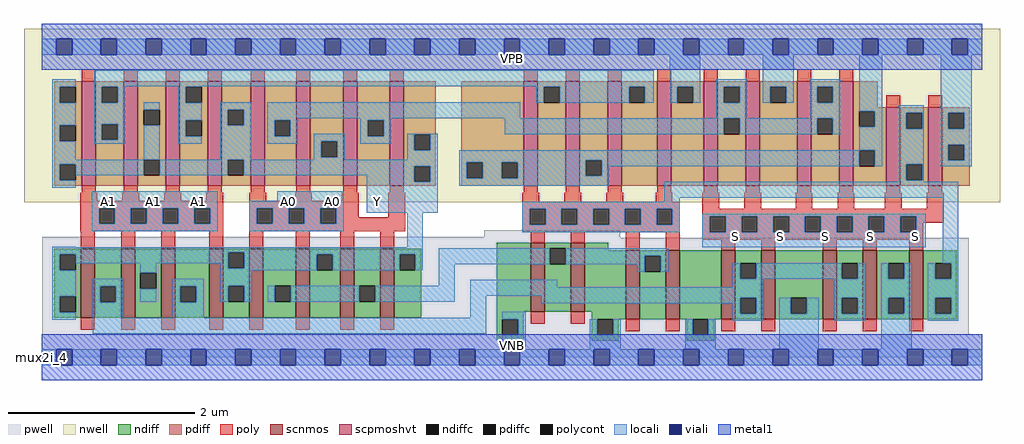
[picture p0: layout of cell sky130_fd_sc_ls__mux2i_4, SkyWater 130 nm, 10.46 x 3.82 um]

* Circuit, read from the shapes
.subckt sky130_fd_sc_ls__mux2i_4 A0 A1 S VGND VNB VPB VPWR Y
XM1 n1 A1 Y VNB sky130_fd_pr__nfet_01v8 w=0.74 l=0.15 m=4
XM2 n2 A0 Y VNB sky130_fd_pr__nfet_01v8 w=0.74 l=0.15 m=4
XM3 n2 n3 VGND VNB sky130_fd_pr__nfet_01v8 w=0.74 l=0.15 m=4
XM4 n1 S VGND VNB sky130_fd_pr__nfet_01v8 w=0.74 l=0.15 m=4
XM5 n3 S VGND VNB sky130_fd_pr__nfet_01v8 w=0.74 l=0.15
XM6 n4 A1 Y VPB sky130_fd_pr__pfet_01v8_hvt w=1.12 l=0.15 m=4
XM7 n5 A0 Y VPB sky130_fd_pr__pfet_01v8_hvt w=1.12 l=0.15 m=4
XM8 n4 n3 VPWR VPB sky130_fd_pr__pfet_01v8_hvt w=1.12 l=0.15 m=4
XM9 n5 S VPWR VPB sky130_fd_pr__pfet_01v8_hvt w=1.12 l=0.15 m=4
XM10 n3 S VPWR VPB sky130_fd_pr__pfet_01v8_hvt w=0.84 l=0.15 m=2
.ends

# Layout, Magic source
magic
tech sky130A
magscale 1 2
<< nwell >>
rect -38 332 2054 704
<< pwell >>
rect 949 259 1240 272
rect 1 256 1240 259
rect 1 49 1987 256
rect 0 0 2016 49
<< scnmos >>
rect 84 85 114 233
rect 170 85 200 233
rect 256 85 286 233
rect 359 85 389 233
rect 445 85 475 233
rect 545 85 575 233
rect 640 85 670 233
rect 726 85 756 233
rect 1048 98 1078 246
rect 1134 98 1164 246
rect 1252 82 1282 230
rect 1338 82 1368 230
rect 1456 82 1486 230
rect 1542 82 1572 230
rect 1674 82 1704 230
rect 1760 82 1790 230
rect 1860 82 1890 230
<< scpmoshvt >>
rect 86 368 116 592
rect 176 368 206 592
rect 266 368 296 592
rect 356 368 386 592
rect 448 368 478 592
rect 546 368 576 592
rect 646 368 676 592
rect 746 368 776 592
rect 1033 368 1063 592
rect 1123 368 1153 592
rect 1213 368 1243 592
rect 1319 368 1349 592
rect 1419 368 1449 592
rect 1509 368 1539 592
rect 1619 368 1649 592
rect 1709 368 1739 592
rect 1810 368 1840 536
rect 1900 368 1930 536
<< ndiff >>
rect 27 221 84 233
rect 27 187 39 221
rect 73 187 84 221
rect 27 131 84 187
rect 27 97 39 131
rect 73 97 84 131
rect 27 85 84 97
rect 114 152 170 233
rect 114 118 125 152
rect 159 118 170 152
rect 114 85 170 118
rect 200 181 256 233
rect 200 147 211 181
rect 245 147 256 181
rect 200 85 256 147
rect 286 152 359 233
rect 286 118 297 152
rect 331 118 359 152
rect 286 85 359 118
rect 389 225 445 233
rect 389 191 400 225
rect 434 191 445 225
rect 389 153 445 191
rect 389 119 400 153
rect 434 119 445 153
rect 389 85 445 119
rect 475 153 545 233
rect 475 119 500 153
rect 534 119 545 153
rect 475 85 545 119
rect 575 221 640 233
rect 575 187 590 221
rect 624 187 640 221
rect 575 85 640 187
rect 670 153 726 233
rect 670 119 681 153
rect 715 119 726 153
rect 670 85 726 119
rect 756 221 813 233
rect 756 187 767 221
rect 801 187 813 221
rect 756 85 813 187
rect 975 98 1048 246
rect 1078 234 1134 246
rect 1078 200 1089 234
rect 1123 200 1134 234
rect 1078 98 1134 200
rect 1164 230 1214 246
rect 1164 98 1252 230
rect 975 82 1033 98
rect 975 48 987 82
rect 1021 48 1033 82
rect 1179 82 1252 98
rect 1282 218 1338 230
rect 1282 184 1293 218
rect 1327 184 1338 218
rect 1282 82 1338 184
rect 1368 82 1456 230
rect 1486 202 1542 230
rect 1486 168 1497 202
rect 1531 168 1542 202
rect 1486 128 1542 168
rect 1486 94 1497 128
rect 1531 94 1542 128
rect 1486 82 1542 94
rect 1572 128 1674 230
rect 1572 94 1606 128
rect 1640 94 1674 128
rect 1572 82 1674 94
rect 1704 202 1760 230
rect 1704 168 1715 202
rect 1749 168 1760 202
rect 1704 128 1760 168
rect 1704 94 1715 128
rect 1749 94 1760 128
rect 1704 82 1760 94
rect 1790 202 1860 230
rect 1790 168 1815 202
rect 1849 168 1860 202
rect 1790 128 1860 168
rect 1790 94 1815 128
rect 1849 94 1860 128
rect 1790 82 1860 94
rect 1890 202 1961 230
rect 1890 168 1915 202
rect 1949 168 1961 202
rect 1890 128 1961 168
rect 1890 94 1915 128
rect 1949 94 1961 128
rect 1890 82 1961 94
rect 975 36 1033 48
rect 1179 48 1191 82
rect 1225 48 1237 82
rect 1179 36 1237 48
rect 1383 48 1395 82
rect 1429 48 1441 82
rect 1383 36 1441 48
<< pdiff >>
rect 27 580 86 592
rect 27 546 39 580
rect 73 546 86 580
rect 27 497 86 546
rect 27 463 39 497
rect 73 463 86 497
rect 27 414 86 463
rect 27 380 39 414
rect 73 380 86 414
rect 27 368 86 380
rect 116 580 176 592
rect 116 546 129 580
rect 163 546 176 580
rect 116 500 176 546
rect 116 466 129 500
rect 163 466 176 500
rect 116 368 176 466
rect 206 531 266 592
rect 206 497 219 531
rect 253 497 266 531
rect 206 424 266 497
rect 206 390 219 424
rect 253 390 266 424
rect 206 368 266 390
rect 296 580 356 592
rect 296 546 309 580
rect 343 546 356 580
rect 296 508 356 546
rect 296 474 309 508
rect 343 474 356 508
rect 296 368 356 474
rect 386 531 448 592
rect 386 497 399 531
rect 433 497 448 531
rect 386 424 448 497
rect 386 390 399 424
rect 433 390 448 424
rect 386 368 448 390
rect 478 508 546 592
rect 478 474 499 508
rect 533 474 546 508
rect 478 368 546 474
rect 576 463 646 592
rect 576 429 599 463
rect 633 429 646 463
rect 576 368 646 429
rect 676 508 746 592
rect 676 474 699 508
rect 733 474 746 508
rect 676 368 746 474
rect 776 478 845 592
rect 776 444 799 478
rect 833 444 845 478
rect 776 410 845 444
rect 776 376 799 410
rect 833 376 845 410
rect 776 368 845 376
rect 899 418 1033 592
rect 899 384 911 418
rect 945 384 986 418
rect 1020 384 1033 418
rect 899 368 1033 384
rect 1063 580 1123 592
rect 1063 546 1076 580
rect 1110 546 1123 580
rect 1063 368 1123 546
rect 1153 423 1213 592
rect 1153 389 1166 423
rect 1200 389 1213 423
rect 1153 368 1213 389
rect 1243 580 1319 592
rect 1243 546 1259 580
rect 1293 546 1319 580
rect 1243 368 1319 546
rect 1349 580 1419 592
rect 1349 546 1362 580
rect 1396 546 1419 580
rect 1349 368 1419 546
rect 1449 580 1509 592
rect 1449 546 1462 580
rect 1496 546 1509 580
rect 1449 512 1509 546
rect 1449 478 1462 512
rect 1496 478 1509 512
rect 1449 368 1509 478
rect 1539 580 1619 592
rect 1539 546 1562 580
rect 1596 546 1619 580
rect 1539 368 1619 546
rect 1649 580 1709 592
rect 1649 546 1662 580
rect 1696 546 1709 580
rect 1649 512 1709 546
rect 1649 478 1662 512
rect 1696 478 1709 512
rect 1649 368 1709 478
rect 1739 536 1792 592
rect 1739 528 1810 536
rect 1739 494 1752 528
rect 1786 494 1810 528
rect 1739 444 1810 494
rect 1739 410 1752 444
rect 1786 410 1810 444
rect 1739 368 1810 410
rect 1840 524 1900 536
rect 1840 490 1853 524
rect 1887 490 1900 524
rect 1840 414 1900 490
rect 1840 380 1853 414
rect 1887 380 1900 414
rect 1840 368 1900 380
rect 1930 524 1989 536
rect 1930 490 1943 524
rect 1977 490 1989 524
rect 1930 456 1989 490
rect 1930 422 1943 456
rect 1977 422 1989 456
rect 1930 368 1989 422
<< ndiffc >>
rect 39 187 73 221
rect 39 97 73 131
rect 125 118 159 152
rect 211 147 245 181
rect 297 118 331 152
rect 400 191 434 225
rect 400 119 434 153
rect 500 119 534 153
rect 590 187 624 221
rect 681 119 715 153
rect 767 187 801 221
rect 1089 200 1123 234
rect 987 48 1021 82
rect 1293 184 1327 218
rect 1497 168 1531 202
rect 1497 94 1531 128
rect 1606 94 1640 128
rect 1715 168 1749 202
rect 1715 94 1749 128
rect 1815 168 1849 202
rect 1815 94 1849 128
rect 1915 168 1949 202
rect 1915 94 1949 128
rect 1191 48 1225 82
rect 1395 48 1429 82
<< pdiffc >>
rect 39 546 73 580
rect 39 463 73 497
rect 39 380 73 414
rect 129 546 163 580
rect 129 466 163 500
rect 219 497 253 531
rect 219 390 253 424
rect 309 546 343 580
rect 309 474 343 508
rect 399 497 433 531
rect 399 390 433 424
rect 499 474 533 508
rect 599 429 633 463
rect 699 474 733 508
rect 799 444 833 478
rect 799 376 833 410
rect 911 384 945 418
rect 986 384 1020 418
rect 1076 546 1110 580
rect 1166 389 1200 423
rect 1259 546 1293 580
rect 1362 546 1396 580
rect 1462 546 1496 580
rect 1462 478 1496 512
rect 1562 546 1596 580
rect 1662 546 1696 580
rect 1662 478 1696 512
rect 1752 494 1786 528
rect 1752 410 1786 444
rect 1853 490 1887 524
rect 1853 380 1887 414
rect 1943 490 1977 524
rect 1943 422 1977 456
<< poly >>
rect 86 592 116 618
rect 176 592 206 618
rect 266 592 296 618
rect 356 592 386 618
rect 448 592 478 618
rect 546 592 576 618
rect 646 592 676 618
rect 746 592 776 618
rect 1033 592 1063 618
rect 1123 592 1153 618
rect 1213 592 1243 618
rect 1319 592 1349 618
rect 1419 592 1449 618
rect 1509 592 1539 618
rect 1619 592 1649 618
rect 1709 592 1739 618
rect 1810 536 1840 562
rect 1900 536 1930 562
rect 86 353 116 368
rect 176 353 206 368
rect 266 353 296 368
rect 356 353 386 368
rect 448 353 478 368
rect 546 353 576 368
rect 646 353 676 368
rect 746 353 776 368
rect 1033 353 1063 368
rect 1123 353 1153 368
rect 1213 353 1243 368
rect 1319 353 1349 368
rect 1419 353 1449 368
rect 1509 353 1539 368
rect 1619 353 1649 368
rect 1709 353 1739 368
rect 1810 353 1840 368
rect 1900 353 1930 368
rect 83 336 119 353
rect 173 336 209 353
rect 263 336 299 353
rect 353 336 389 353
rect 83 320 389 336
rect 83 286 123 320
rect 157 286 191 320
rect 225 286 259 320
rect 293 286 327 320
rect 361 286 389 320
rect 83 270 389 286
rect 84 233 114 270
rect 170 233 200 270
rect 256 233 286 270
rect 359 233 389 270
rect 445 336 481 353
rect 543 336 579 353
rect 643 336 679 353
rect 445 320 679 336
rect 445 286 461 320
rect 495 286 529 320
rect 563 286 597 320
rect 631 300 679 320
rect 743 300 779 353
rect 631 286 779 300
rect 445 270 779 286
rect 1030 334 1066 353
rect 1120 334 1156 353
rect 1210 334 1246 353
rect 1316 334 1352 353
rect 1030 318 1368 334
rect 1030 284 1046 318
rect 1080 284 1114 318
rect 1148 284 1182 318
rect 1216 284 1250 318
rect 1284 284 1318 318
rect 1352 284 1368 318
rect 445 233 475 270
rect 545 233 575 270
rect 640 233 670 270
rect 726 233 756 270
rect 1030 268 1368 284
rect 1048 246 1078 268
rect 1134 246 1164 268
rect 1252 230 1282 268
rect 1338 230 1368 268
rect 1416 318 1452 353
rect 1506 318 1542 353
rect 1616 318 1652 353
rect 1706 318 1742 353
rect 1807 318 1843 353
rect 1897 318 1933 353
rect 1416 302 1933 318
rect 1416 268 1432 302
rect 1466 268 1500 302
rect 1534 268 1568 302
rect 1602 268 1636 302
rect 1670 268 1704 302
rect 1738 268 1772 302
rect 1806 268 1840 302
rect 1874 288 1933 302
rect 1874 268 1890 288
rect 1416 252 1890 268
rect 1456 230 1486 252
rect 1542 230 1572 252
rect 1674 230 1704 252
rect 1760 230 1790 252
rect 1860 230 1890 252
rect 84 59 114 85
rect 170 59 200 85
rect 256 59 286 85
rect 359 59 389 85
rect 445 59 475 85
rect 545 59 575 85
rect 640 59 670 85
rect 726 59 756 85
rect 1048 72 1078 98
rect 1134 72 1164 98
rect 1252 56 1282 82
rect 1338 56 1368 82
rect 1456 56 1486 82
rect 1542 56 1572 82
rect 1674 56 1704 82
rect 1760 56 1790 82
rect 1860 56 1890 82
<< polycont >>
rect 123 286 157 320
rect 191 286 225 320
rect 259 286 293 320
rect 327 286 361 320
rect 461 286 495 320
rect 529 286 563 320
rect 597 286 631 320
rect 1046 284 1080 318
rect 1114 284 1148 318
rect 1182 284 1216 318
rect 1250 284 1284 318
rect 1318 284 1352 318
rect 1432 268 1466 302
rect 1500 268 1534 302
rect 1568 268 1602 302
rect 1636 268 1670 302
rect 1704 268 1738 302
rect 1772 268 1806 302
rect 1840 268 1874 302
<< locali >>
rect 0 649 31 683
rect 65 649 127 683
rect 161 649 223 683
rect 257 649 319 683
rect 353 649 415 683
rect 449 649 511 683
rect 545 649 607 683
rect 641 649 703 683
rect 737 649 799 683
rect 833 649 895 683
rect 929 649 991 683
rect 1025 649 1087 683
rect 1121 649 1183 683
rect 1217 649 1279 683
rect 1313 649 1375 683
rect 1409 649 1471 683
rect 1505 649 1567 683
rect 1601 649 1663 683
rect 1697 649 1759 683
rect 1793 649 1855 683
rect 1889 649 1951 683
rect 1985 649 2016 683
rect 23 580 73 596
rect 23 546 39 580
rect 23 497 73 546
rect 23 463 39 497
rect 23 424 73 463
rect 113 581 1312 615
rect 113 580 179 581
rect 113 546 129 580
rect 163 546 179 580
rect 293 580 343 581
rect 113 500 179 546
rect 113 466 129 500
rect 163 466 179 500
rect 113 458 179 466
rect 219 531 253 547
rect 219 424 253 497
rect 293 546 309 580
rect 1060 580 1312 581
rect 293 508 343 546
rect 293 474 309 508
rect 293 458 343 474
rect 383 531 449 547
rect 383 497 399 531
rect 433 497 449 531
rect 383 424 449 497
rect 483 513 1026 547
rect 1060 546 1076 580
rect 1110 546 1259 580
rect 1293 546 1312 580
rect 1346 580 1412 649
rect 1346 546 1362 580
rect 1396 546 1412 580
rect 1446 580 1512 596
rect 1446 546 1462 580
rect 1496 546 1512 580
rect 1546 580 1612 649
rect 1546 546 1562 580
rect 1596 546 1612 580
rect 1646 580 1712 596
rect 1646 546 1662 580
rect 1696 546 1712 580
rect 483 508 549 513
rect 483 474 499 508
rect 533 474 549 508
rect 683 508 749 513
rect 483 458 549 474
rect 583 463 649 479
rect 583 429 599 463
rect 633 429 649 463
rect 683 474 699 508
rect 733 474 749 508
rect 992 512 1026 513
rect 1446 512 1512 546
rect 1646 512 1712 546
rect 683 458 749 474
rect 783 478 849 479
rect 992 478 1462 512
rect 1496 478 1662 512
rect 1696 478 1712 512
rect 1752 528 1802 649
rect 1786 494 1802 528
rect 583 424 649 429
rect 783 444 799 478
rect 833 444 849 478
rect 1752 444 1802 494
rect 783 424 849 444
rect 23 414 219 424
rect 23 380 39 414
rect 73 390 219 414
rect 253 390 399 424
rect 433 410 849 424
rect 433 390 799 410
rect 23 364 73 380
rect 697 376 799 390
rect 833 376 849 410
rect 107 320 377 356
rect 505 336 647 356
rect 107 286 123 320
rect 157 286 191 320
rect 225 286 259 320
rect 293 286 327 320
rect 361 286 377 320
rect 107 270 377 286
rect 445 320 647 336
rect 445 286 461 320
rect 495 286 529 320
rect 563 286 597 320
rect 631 286 647 320
rect 697 310 849 376
rect 895 423 1752 444
rect 895 418 1166 423
rect 895 384 911 418
rect 945 384 986 418
rect 1020 389 1166 418
rect 1200 410 1752 423
rect 1786 410 1802 444
rect 1837 524 1891 540
rect 1837 490 1853 524
rect 1887 490 1891 524
rect 1837 414 1891 490
rect 1200 389 1216 410
rect 1020 384 1216 389
rect 895 368 1216 384
rect 1837 380 1853 414
rect 1887 380 1891 414
rect 1927 524 1993 649
rect 1927 490 1943 524
rect 1977 490 1993 524
rect 1927 456 1993 490
rect 1927 422 1943 456
rect 1977 422 1993 456
rect 1927 410 1993 422
rect 1837 376 1891 380
rect 1334 342 1965 376
rect 1334 334 1368 342
rect 1030 318 1368 334
rect 445 270 647 286
rect 23 236 73 237
rect 783 236 817 310
rect 1030 284 1046 318
rect 1080 284 1114 318
rect 1148 284 1182 318
rect 1216 284 1250 318
rect 1284 284 1318 318
rect 1352 284 1368 318
rect 1030 268 1368 284
rect 1416 302 1895 308
rect 1416 268 1432 302
rect 1466 268 1500 302
rect 1534 268 1568 302
rect 1602 268 1636 302
rect 1670 268 1704 302
rect 1738 268 1772 302
rect 1806 268 1840 302
rect 1874 268 1895 302
rect 1416 236 1895 268
rect 23 225 817 236
rect 23 221 400 225
rect 23 187 39 221
rect 73 202 400 221
rect 23 131 73 187
rect 211 181 245 202
rect 23 97 39 131
rect 23 81 73 97
rect 109 152 175 168
rect 109 118 125 152
rect 159 118 175 152
rect 384 191 400 202
rect 434 221 817 225
rect 434 191 590 221
rect 384 187 590 191
rect 624 187 767 221
rect 801 187 817 221
rect 851 200 1089 234
rect 1123 218 1343 234
rect 1123 200 1293 218
rect 211 119 245 147
rect 281 152 347 168
rect 109 85 175 118
rect 281 118 297 152
rect 331 118 347 152
rect 384 153 450 187
rect 851 153 885 200
rect 1277 184 1293 200
rect 1327 184 1343 218
rect 1931 202 1965 342
rect 1481 168 1497 202
rect 1531 168 1715 202
rect 1749 168 1765 202
rect 384 119 400 153
rect 434 119 450 153
rect 484 119 500 153
rect 534 119 681 153
rect 715 119 885 153
rect 919 150 1105 166
rect 1481 150 1547 168
rect 919 132 1547 150
rect 281 85 347 118
rect 919 85 953 132
rect 1071 128 1547 132
rect 1699 128 1765 168
rect 1071 116 1497 128
rect 109 51 953 85
rect 987 82 1037 98
rect 1481 94 1497 116
rect 1531 94 1547 128
rect 1021 48 1037 82
rect 987 17 1037 48
rect 1175 48 1191 82
rect 1225 48 1241 82
rect 1175 17 1241 48
rect 1379 48 1395 82
rect 1429 48 1445 82
rect 1481 78 1547 94
rect 1581 94 1606 128
rect 1640 94 1665 128
rect 1379 17 1445 48
rect 1581 17 1665 94
rect 1699 94 1715 128
rect 1749 94 1765 128
rect 1699 78 1765 94
rect 1799 168 1815 202
rect 1849 168 1865 202
rect 1799 128 1865 168
rect 1799 94 1815 128
rect 1849 94 1865 128
rect 1799 17 1865 94
rect 1899 168 1915 202
rect 1949 168 1965 202
rect 1899 128 1965 168
rect 1899 94 1915 128
rect 1949 94 1965 128
rect 1899 78 1965 94
rect 0 -17 31 17
rect 65 -17 127 17
rect 161 -17 223 17
rect 257 -17 319 17
rect 353 -17 415 17
rect 449 -17 511 17
rect 545 -17 607 17
rect 641 -17 703 17
rect 737 -17 799 17
rect 833 -17 895 17
rect 929 -17 991 17
rect 1025 -17 1087 17
rect 1121 -17 1183 17
rect 1217 -17 1279 17
rect 1313 -17 1375 17
rect 1409 -17 1471 17
rect 1505 -17 1567 17
rect 1601 -17 1663 17
rect 1697 -17 1759 17
rect 1793 -17 1855 17
rect 1889 -17 1951 17
rect 1985 -17 2016 17
<< viali >>
rect 31 649 65 683
rect 127 649 161 683
rect 223 649 257 683
rect 319 649 353 683
rect 415 649 449 683
rect 511 649 545 683
rect 607 649 641 683
rect 703 649 737 683
rect 799 649 833 683
rect 895 649 929 683
rect 991 649 1025 683
rect 1087 649 1121 683
rect 1183 649 1217 683
rect 1279 649 1313 683
rect 1375 649 1409 683
rect 1471 649 1505 683
rect 1567 649 1601 683
rect 1663 649 1697 683
rect 1759 649 1793 683
rect 1855 649 1889 683
rect 1951 649 1985 683
rect 31 -17 65 17
rect 127 -17 161 17
rect 223 -17 257 17
rect 319 -17 353 17
rect 415 -17 449 17
rect 511 -17 545 17
rect 607 -17 641 17
rect 703 -17 737 17
rect 799 -17 833 17
rect 895 -17 929 17
rect 991 -17 1025 17
rect 1087 -17 1121 17
rect 1183 -17 1217 17
rect 1279 -17 1313 17
rect 1375 -17 1409 17
rect 1471 -17 1505 17
rect 1567 -17 1601 17
rect 1663 -17 1697 17
rect 1759 -17 1793 17
rect 1855 -17 1889 17
rect 1951 -17 1985 17
<< metal1 >>
rect 0 683 2016 715
rect 0 649 31 683
rect 65 649 127 683
rect 161 649 223 683
rect 257 649 319 683
rect 353 649 415 683
rect 449 649 511 683
rect 545 649 607 683
rect 641 649 703 683
rect 737 649 799 683
rect 833 649 895 683
rect 929 649 991 683
rect 1025 649 1087 683
rect 1121 649 1183 683
rect 1217 649 1279 683
rect 1313 649 1375 683
rect 1409 649 1471 683
rect 1505 649 1567 683
rect 1601 649 1663 683
rect 1697 649 1759 683
rect 1793 649 1855 683
rect 1889 649 1951 683
rect 1985 649 2016 683
rect 0 617 2016 649
rect 0 17 2016 49
rect 0 -17 31 17
rect 65 -17 127 17
rect 161 -17 223 17
rect 257 -17 319 17
rect 353 -17 415 17
rect 449 -17 511 17
rect 545 -17 607 17
rect 641 -17 703 17
rect 737 -17 799 17
rect 833 -17 895 17
rect 929 -17 991 17
rect 1025 -17 1087 17
rect 1121 -17 1183 17
rect 1217 -17 1279 17
rect 1313 -17 1375 17
rect 1409 -17 1471 17
rect 1505 -17 1567 17
rect 1601 -17 1663 17
rect 1697 -17 1759 17
rect 1793 -17 1855 17
rect 1889 -17 1951 17
rect 1985 -17 2016 17
rect 0 -49 2016 -17
<< labels >>
rlabel comment s 0 0 0 0 4 mux2i_4
flabel pwell s 0 0 2016 49 0 FreeSans 200 0 0 0 VNB
port 5 nsew ground bidirectional
flabel nwell s 0 617 2016 666 0 FreeSans 200 0 0 0 VPB
port 6 nsew power bidirectional
flabel metal1 s 0 617 2016 666 0 FreeSans 340 0 0 0 VPWR
port 7 nsew power bidirectional abutment
flabel metal1 s 0 0 2016 49 0 FreeSans 340 0 0 0 VGND
port 4 nsew ground bidirectional abutment
flabel locali s 1471 242 1505 276 0 FreeSans 340 0 0 0 S
port 3 nsew signal input
flabel locali s 1567 242 1601 276 0 FreeSans 340 0 0 0 S
port 3 nsew signal input
flabel locali s 1663 242 1697 276 0 FreeSans 340 0 0 0 S
port 3 nsew signal input
flabel locali s 1759 242 1793 276 0 FreeSans 340 0 0 0 S
port 3 nsew signal input
flabel locali s 1855 242 1889 276 0 FreeSans 340 0 0 0 S
port 3 nsew signal input
flabel locali s 511 316 545 350 0 FreeSans 340 0 0 0 A0
port 1 nsew signal input
flabel locali s 607 316 641 350 0 FreeSans 340 0 0 0 A0
port 1 nsew signal input
flabel locali s 127 316 161 350 0 FreeSans 340 0 0 0 A1
port 2 nsew signal input
flabel locali s 223 316 257 350 0 FreeSans 340 0 0 0 A1
port 2 nsew signal input
flabel locali s 319 316 353 350 0 FreeSans 340 0 0 0 A1
port 2 nsew signal input
flabel locali s 703 316 737 350 0 FreeSans 340 0 0 0 Y
port 8 nsew signal output
<< properties >>
string LEFsite unit
string LEFclass CORE
string FIXED_BBOX 0 0 2016 666
string GDS_FILE $PDKPATH/libs.ref/sky130_fd_sc_ls/gds/sky130_fd_sc_ls.gds
string LEFsymmetry X Y
string GDS_END 2250790
string GDS_START 2236510
<< end >>
